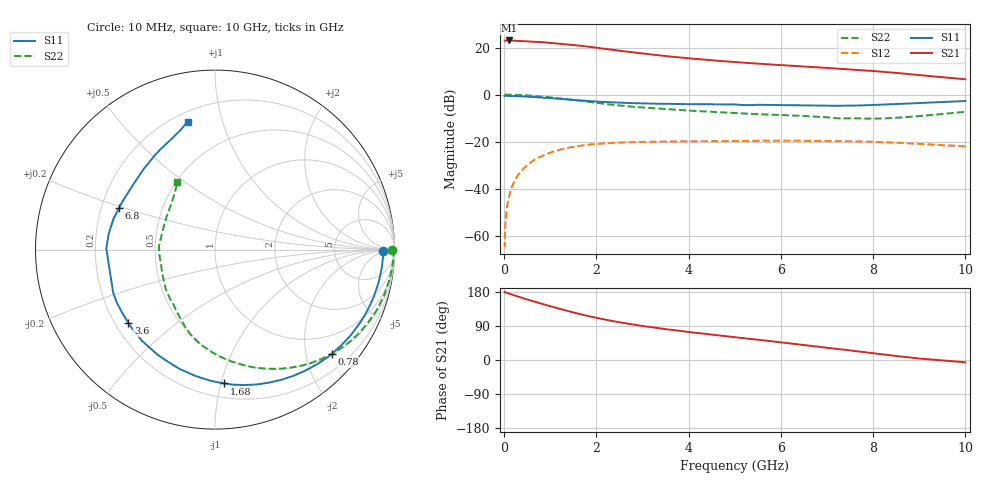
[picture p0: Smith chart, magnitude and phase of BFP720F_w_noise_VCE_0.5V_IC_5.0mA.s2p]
! Infineon Technologies  Discrete & RF Semiconductors
! BFP720F
! VCE =  0.5 V,  IC =  5.0 mA
! Common Emitter S-Parameters:  Jan 2016
# GHz  S  MA  R  50
!  f  S11  S21  S12  S22
! GHz  MAG  ANG  MAG  ANG  MAG  ANG  MAG  ANG
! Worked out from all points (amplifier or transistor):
!   233 points, 10 MHz to 10 GHz, reference 50 ohm
!   highest |S21| = 23.0 dB at 100 MHz (marker M1)
!   |S21| within 3 dB of that: start of sweep to 1.968 GHz
!   unconditionally stable (mu >= 1): 8.199 GHz to end of sweep
!   at 200 MHz: K = 0.04, MSG = 30.4 dB, |S12| = -37.9 dB
!   at 1.74 GHz: K = 0.22, MSG = 21.0 dB, |S12| = -21.5 dB
!   at 10 GHz: K = 1.23, MAG = 11.4 dB, |S12| = -22.0 dB
!   lowest NFmin = 0.41 dB at 450 MHz
!   S11 on the Smith chart (normalised r, x): 10 MHz: 29, -4; 780 MHz: 0.52, -2.53; 1.68 GHz: 0.30, -1.02; 3.6 GHz: 0.25, -0.35; 6.8 GHz: 0.27, +0.19; 10 GHz: 0.26, +0.78
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0.01  0.9349 -0.5  14 179.7  0.0007 -38.8  0.9838 -0.1
0.015  0.937 -0.7  13.96 178.8  0.0006 60.2  0.9896 -0.8
0.02  0.9392 -0.9  13.91 177.9  0.0014 89.8  0.9955 -1.5
0.05  0.9367 -2.7  14.1 177.7  0.0032 90.2  0.9934 -2.2
0.1  0.9359 -5.5  14.12 175.5  0.0064 86.1  0.9937 -4.2
0.4  0.9143 -21.7  13.69 163.4  0.0255 76.3  0.9703 -17.1
0.78  0.8721 -41.8  13.07 149.6  0.0474 63.7  0.9171 -32.7
1  0.8416 -53.2  12.57 141.8  0.0588 56.5  0.8724 -41.7
1.2  0.8135 -63.2  12.06 135.1  0.0669 50.8  0.8315 -49.0
1.44  0.7804 -74.7  11.45 127.5  0.0757 44.0  0.777 -57.9
1.68  0.7471 -86.2  10.82 120.0  0.0826 37.8  0.7241 -66.3
2.02  0.7087 -99.9  9.854 110.7  0.0895 30.3  0.6596 -76.6
2.48  0.6727 -115.2  8.593 100.0  0.0952 21.5  0.589 -88.7
3  0.6508 -128.8  7.467 89.7  0.0986 14.1  0.5326 -99.1
3.4  0.6374 -136.2  6.749 83.2  0.1 9.4  0.4987 -104.8
3.6  0.6329 -139.6  6.439 80.0  0.1006 7.2  0.4839 -107.4
4.5  0.622 -151.5  5.355 66.9  0.1027 -1.1  0.4301 -116.7
5.1  0.6058 -161.7  4.832 58.8  0.1037 -6.1  0.4007 -122.9
6.8  0.5829 156.8  3.783 35.3  0.1036 -20.2  0.3367 -147.3
8.4  0.623 122.6  2.944 12.0  0.0959 -33.9  0.317 152.3
9  0.6612 111.7  2.59 3.9  0.0892 -37.9  0.3482 135.2
10  0.7288 102.1  2.114 -6.1  0.0794 -41.3  0.4308 119.1
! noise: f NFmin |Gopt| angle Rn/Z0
0.45  0.41  0.49  4  0.15
0.9  0.44  0.48  9  0.17
1.8  0.5  0.44  20  0.17
2.4  0.54  0.41  29  0.14
5.5  0.72  0.37  68  0.1
10  1  0.25  -109  0.15
